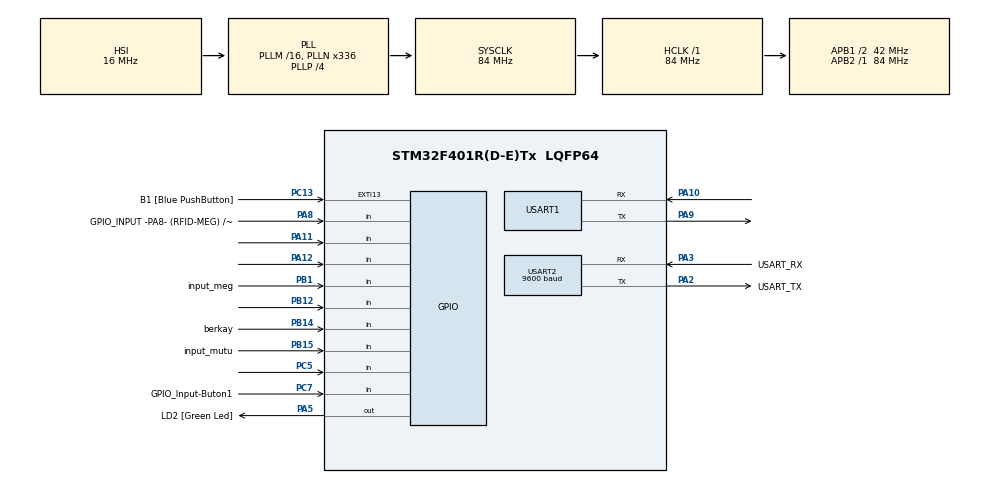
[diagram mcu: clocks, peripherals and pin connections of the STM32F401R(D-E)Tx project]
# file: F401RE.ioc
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Mcu.Family=STM32F4
Mcu.Name=STM32F401R(D-E)Tx
Mcu.Package=LQFP64
NVIC.EXTI15_10_IRQn=true\:0\:0\:false\:false\:true\:true\:true
NVIC.PriorityGroup=NVIC_PRIORITYGROUP_0
NVIC.USART1_IRQn=true\:0\:0\:false\:false\:true\:true\:true
NVIC.USART2_IRQn=true\:0\:0\:false\:false\:true\:true\:true
PA10.Mode=Asynchronous
PA10.Signal=USART1_RX
PA11.Signal=GPIO_Input
PA12.Signal=GPIO_Input
PA13.GPIO_Label=TMS
PA13.Mode=Serial_Wire
PA13.Signal=SYS_JTMS-SWDIO
PA14.GPIO_Label=TCK
PA14.Mode=Serial_Wire
PA14.Signal=SYS_JTCK-SWCLK
PA2.GPIO_Label=USART_TX
PA2.GPIO_Mode=GPIO_MODE_AF_PP
PA2.GPIO_PuPd=GPIO_NOPULL
PA2.GPIO_Speed=GPIO_SPEED_FREQ_LOW
PA2.Mode=Asynchronous
PA2.Signal=USART2_TX
PA3.GPIO_Label=USART_RX
PA3.GPIO_Mode=GPIO_MODE_AF_PP
PA3.GPIO_PuPd=GPIO_NOPULL
PA3.GPIO_Speed=GPIO_SPEED_FREQ_LOW
PA3.Mode=Asynchronous
PA3.Signal=USART2_RX
PA5.GPIO_Label=LD2 [Green Led]
PA5.GPIO_Mode=GPIO_MODE_OUTPUT_PP
PA5.GPIO_PuPd=GPIO_NOPULL
PA5.GPIO_Speed=GPIO_SPEED_FREQ_LOW
PA5.Signal=GPIO_Output
PA8.GPIO_Label=GPIO_INPUT -PA8- (RFID-MEG) // D7
PA8.Signal=GPIO_Input
PA9.Mode=Asynchronous
PA9.Signal=USART1_TX
PB1.GPIO_Label=input_meg
PB1.Signal=GPIO_Input
PB12.Signal=GPIO_Input
PB14.GPIO_Label=berkay
PB14.Signal=GPIO_Input
PB15.GPIO_Label=input_mutu
PB15.Signal=GPIO_Input
PB3.GPIO_Label=SWO
PB3.Signal=SYS_JTDO-SWO
PC13-ANTI_TAMP.GPIO_Label=B1 [Blue PushButton]
PC13-ANTI_TAMP.GPIO_ModeDefaultEXTI=GPIO_MODE_IT_FALLING
PC13-ANTI_TAMP.GPIO_PuPd=GPIO_NOPULL
PC13-ANTI_TAMP.Signal=GPXTI13
PC14-OSC32_IN.Mode=LSE-External-Oscillator
PC14-OSC32_IN.Signal=RCC_OSC32_IN
PC15-OSC32_OUT.Mode=LSE-External-Oscillator
PC15-OSC32_OUT.Signal=RCC_OSC32_OUT
PC5.Signal=GPIO_Input
PC7.GPIO_Label=GPIO_Input-Buton1
PC7.Signal=GPIO_Input
PH0\ -\ OSC_IN.Mode=HSE-External-Oscillator
PH0\ -\ OSC_IN.Signal=RCC_OSC_IN
PH1\ -\ OSC_OUT.Mode=HSE-External-Oscillator
PH1\ -\ OSC_OUT.Signal=RCC_OSC_OUT
ProjectManager.HeapSize=0x200
ProjectManager.StackSize=0x400
ProjectManager.TargetToolchain=STM32CubeIDE
RCC.48MHZClocksFreq_Value=48000000
RCC.AHBFreq_Value=84000000
RCC.APB1CLKDivider=RCC_HCLK_DIV2
RCC.APB1Freq_Value=42000000
RCC.APB1TimFreq_Value=84000000
RCC.APB2Freq_Value=84000000
RCC.APB2TimFreq_Value=84000000
RCC.CortexFreq_Value=84000000
RCC.HCLKFreq_Value=84000000
RCC.HSE_VALUE=8000000
RCC.HSI_VALUE=16000000
RCC.PLLN=336
RCC.PLLP=RCC_PLLP_DIV4
RCC.PLLQ=7
RCC.SYSCLKFreq_VALUE=84000000
RCC.SYSCLKSource=RCC_SYSCLKSOURCE_PLLCLK
RCC.VCOOutputFreq_Value=336000000
USART1.VirtualMode=VM_ASYNC
USART2.BaudRate=9600
USART2.VirtualMode=VM_ASYNC
board=NUCLEO-F401RE

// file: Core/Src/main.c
/* USER CODE BEGIN Header */

/**
  ******************************************************************************
  * @file           : main.c
  * @brief          : Main program body
  ******************************************************************************
  * @attention
  *
  * <h2><center>&copy; Copyright (c) 2021 STMicroelectronics.
  * All rights reserved.</center></h2>
  *
  * This software component is licensed by ST under BSD 3-Clause license,
  * the "License"; You may not use this file except in compliance with the
  * License. You may obtain a copy of the License at:
  *                        opensource.org/licenses/BSD-3-Clause
  *
  ******************************************************************************
  */

/* USER CODE END Header */
#include "main.h"

UART_HandleTypeDef huart1;
UART_HandleTypeDef huart2;

/* USER CODE BEGIN PV */

char mydata[5] ="MEG\n\r";
char mydata2[7] ="MUTLU\n\r";
char mydata3[8] = "BERKAY\n\r";
char mydata4[6] = "ECEM\n\r";
char regButton[5] = "REG\n\r";
char updateButton[8] = "UPDATE\n\r";
char LISTButton[6] = "LIST\n\r";
char HESButton[5] = "HES\n\r";

/* USER CODE END PV */

void SystemClock_Config(void);
static void MX_GPIO_Init(void);
static void MX_USART2_UART_Init(void);
static void MX_USART1_UART_Init(void);

int main(void)
{

  /* MCU Configuration--------------------------------------------------------*/

  /* Reset of all peripherals, Initializes the Flash interface and the Systick. */
  HAL_Init();

  /* Configure the system clock */
  SystemClock_Config();

  /* Initialize all configured peripherals */
  MX_GPIO_Init();
  MX_USART2_UART_Init();
  MX_USART1_UART_Init();

  /* Infinite loop */
  while (1)
  {

    /* USER CODE BEGIN 3 */
	  	  	  	  	  	  	  	  // RFID kart 1 Kontrolü -- MEG-- Kartı kontrolü
	  if (HAL_GPIO_ReadPin(GPIOB, GPIO_PIN_1) == 1){

		  HAL_UART_Transmit(&huart2, mydata, strlen(mydata), 100);
		  HAL_Delay(1000);

		  // A8 pini HIGH oldugunda Seri Porta MEG verisini yollar
	  }

	  	  	  	  	  	  	  	  // RFID kart 2 Kontrolü -- MUTLU-- Kartı kontrolü
	  else if (HAL_GPIO_ReadPin(GPIOB, GPIO_PIN_15) == 1){

		  HAL_UART_Transmit(&huart2, mydata2, strlen(mydata2), 100);
		  HAL_Delay(1000);
	  }
	  	  	  	  	  	  	  // RFID kart 3 Kontrolü -- BERKAY-- Kartı kontrolü
	  else if (HAL_GPIO_ReadPin(GPIOB, GPIO_PIN_14)== 1){

	  		  HAL_UART_Transmit(&huart2, mydata3, strlen(mydata3), 100);
	  		  HAL_Delay(1000);
	  	  }
	  	  	  	  	  	  	  // RFID kart 4 Kontrolü -- ECEM-- Kartı kontrolü
	/*  else if (HAL_GPIO_ReadPin(GPIOB, GPIO_PIN_15)){

	  	  		  HAL_UART_Transmit(&huart2, mydata4, strlen(mydata4), 100);
	  	  		  HAL_Delay(1000);
	  	  	  }

*/

	  else if(HAL_GPIO_ReadPin(GPIOC, GPIO_PIN_5) == 1) {

		  HAL_UART_Transmit(&huart2, regButton, strlen(regButton), 100);
		  HAL_GPIO_WritePin(GPIOA, GPIO_PIN_5, 1);
		  HAL_Delay(1000);
		  HAL_GPIO_WritePin(GPIOA, GPIO_PIN_5, 0);

	  }

	  else if(HAL_GPIO_ReadPin(GPIOA, GPIO_PIN_12) == 1) {

	  		  HAL_UART_Transmit(&huart2, updateButton, strlen(updateButton), 100);
	  		  HAL_GPIO_WritePin(GPIOA, GPIO_PIN_5, 1);
	  		  HAL_Delay(1000);
	  		  HAL_GPIO_WritePin(GPIOA, GPIO_PIN_5, 0);

	  	  }

	  else if(HAL_GPIO_ReadPin(GPIOA, GPIO_PIN_11) == 1) {

	  	  		  HAL_UART_Transmit(&huart2, LISTButton, strlen(LISTButton), 100);
	  	  		  HAL_GPIO_WritePin(GPIOA, GPIO_PIN_5, 1);
	  	  		  HAL_Delay(1000);
	  	  		  HAL_GPIO_WritePin(GPIOA, GPIO_PIN_5, 0);

	  	  	  }

	  else if(HAL_GPIO_ReadPin(GPIOB, GPIO_PIN_12) == 1) {

	 	  	  		  HAL_UART_Transmit(&huart2, HESButton, strlen(HESButton), 100);
	 	  	  		  HAL_GPIO_WritePin(GPIOA, GPIO_PIN_5, 1);
	 	  	  		  HAL_Delay(1000);
	 	  	  		  HAL_GPIO_WritePin(GPIOA, GPIO_PIN_5, 0);

	 	  	  	  }

	  }

	  /*  	  HAL_UART_Transmit(&huart2, mydata, strlen(mydata), 50);
	  	  HAL_Delay(500);
*/

  /* USER CODE END 3 */
}

void SystemClock_Config(void)
{
  RCC_OscInitTypeDef RCC_OscInitStruct = {0};
  RCC_ClkInitTypeDef RCC_ClkInitStruct = {0};

  /** Configure the main internal regulator output voltage
  */
  __HAL_RCC_PWR_CLK_ENABLE();
  __HAL_PWR_VOLTAGESCALING_CONFIG(PWR_REGULATOR_VOLTAGE_SCALE2);
  /** Initializes the RCC Oscillators according to the specified parameters
  * in the RCC_OscInitTypeDef structure.
  */
  RCC_OscInitStruct.OscillatorType = RCC_OSCILLATORTYPE_HSI;
  RCC_OscInitStruct.HSIState = RCC_HSI_ON;
  RCC_OscInitStruct.HSICalibrationValue = RCC_HSICALIBRATION_DEFAULT;
  RCC_OscInitStruct.PLL.PLLState = RCC_PLL_ON;
  RCC_OscInitStruct.PLL.PLLSource = RCC_PLLSOURCE_HSI;
  RCC_OscInitStruct.PLL.PLLM = 16;
  RCC_OscInitStruct.PLL.PLLN = 336;
  RCC_OscInitStruct.PLL.PLLP = RCC_PLLP_DIV4;
  RCC_OscInitStruct.PLL.PLLQ = 7;
  if (HAL_RCC_OscConfig(&RCC_OscInitStruct) != HAL_OK)
  {
    Error_Handler();
  }
  /** Initializes the CPU, AHB and APB buses clocks
  */
  RCC_ClkInitStruct.ClockType = RCC_CLOCKTYPE_HCLK|RCC_CLOCKTYPE_SYSCLK
                              |RCC_CLOCKTYPE_PCLK1|RCC_CLOCKTYPE_PCLK2;
  RCC_ClkInitStruct.SYSCLKSource = RCC_SYSCLKSOURCE_PLLCLK;
  RCC_ClkInitStruct.AHBCLKDivider = RCC_SYSCLK_DIV1;
  RCC_ClkInitStruct.APB1CLKDivider = RCC_HCLK_DIV2;
  RCC_ClkInitStruct.APB2CLKDivider = RCC_HCLK_DIV1;

  if (HAL_RCC_ClockConfig(&RCC_ClkInitStruct, FLASH_LATENCY_2) != HAL_OK)
  {
    Error_Handler();
  }
}

static void MX_USART1_UART_Init(void)
{

  huart1.Instance = USART1;
  huart1.Init.BaudRate = 115200;
  huart1.Init.WordLength = UART_WORDLENGTH_8B;
  huart1.Init.StopBits = UART_STOPBITS_1;
  huart1.Init.Parity = UART_PARITY_NONE;
  huart1.Init.Mode = UART_MODE_TX_RX;
  huart1.Init.HwFlowCtl = UART_HWCONTROL_NONE;
  huart1.Init.OverSampling = UART_OVERSAMPLING_16;
  if (HAL_UART_Init(&huart1) != HAL_OK)
  {
    Error_Handler();
  }

}

static void MX_USART2_UART_Init(void)
{

  huart2.Instance = USART2;
  huart2.Init.BaudRate = 9600;
  huart2.Init.WordLength = UART_WORDLENGTH_8B;
  huart2.Init.StopBits = UART_STOPBITS_1;
  huart2.Init.Parity = UART_PARITY_NONE;
  huart2.Init.Mode = UART_MODE_TX_RX;
  huart2.Init.HwFlowCtl = UART_HWCONTROL_NONE;
  huart2.Init.OverSampling = UART_OVERSAMPLING_16;
  if (HAL_UART_Init(&huart2) != HAL_OK)
  {
    Error_Handler();
  }

}

static void MX_GPIO_Init(void)
{
  GPIO_InitTypeDef GPIO_InitStruct = {0};

  /* GPIO Ports Clock Enable */
  __HAL_RCC_GPIOC_CLK_ENABLE();
  __HAL_RCC_GPIOH_CLK_ENABLE();
  __HAL_RCC_GPIOA_CLK_ENABLE();
  __HAL_RCC_GPIOB_CLK_ENABLE();

  /*Configure GPIO pin Output Level */
  HAL_GPIO_WritePin(LD2_GPIO_Port, LD2_Pin, GPIO_PIN_RESET);

  /*Configure GPIO pin : B1_Pin */
  GPIO_InitStruct.Pin = B1_Pin;
  GPIO_InitStruct.Mode = GPIO_MODE_IT_FALLING;
  GPIO_InitStruct.Pull = GPIO_NOPULL;
  HAL_GPIO_Init(B1_GPIO_Port, &GPIO_InitStruct);

  /*Configure GPIO pin : LD2_Pin */
  GPIO_InitStruct.Pin = LD2_Pin;
  GPIO_InitStruct.Mode = GPIO_MODE_OUTPUT_PP;
  GPIO_InitStruct.Pull = GPIO_NOPULL;
  GPIO_InitStruct.Speed = GPIO_SPEED_FREQ_LOW;
  HAL_GPIO_Init(LD2_GPIO_Port, &GPIO_InitStruct);

  /*Configure GPIO pins : PC5 GPIO_Input_Buton1_Pin */
  GPIO_InitStruct.Pin = GPIO_PIN_5|GPIO_Input_Buton1_Pin;
  GPIO_InitStruct.Mode = GPIO_MODE_INPUT;
  GPIO_InitStruct.Pull = GPIO_NOPULL;
  HAL_GPIO_Init(GPIOC, &GPIO_InitStruct);

  /*Configure GPIO pins : input_meg_Pin PB12 berkay_Pin input_mutu_Pin */
  GPIO_InitStruct.Pin = input_meg_Pin|GPIO_PIN_12|berkay_Pin|input_mutu_Pin;
  GPIO_InitStruct.Mode = GPIO_MODE_INPUT;
  GPIO_InitStruct.Pull = GPIO_NOPULL;
  HAL_GPIO_Init(GPIOB, &GPIO_InitStruct);

  /*Configure GPIO pins : GPIO_INPUT__PA8_____D7_Pin PA11 PA12 */
  GPIO_InitStruct.Pin = GPIO_INPUT__PA8_____D7_Pin|GPIO_PIN_11|GPIO_PIN_12;
  GPIO_InitStruct.Mode = GPIO_MODE_INPUT;
  GPIO_InitStruct.Pull = GPIO_NOPULL;
  HAL_GPIO_Init(GPIOA, &GPIO_InitStruct);

  /* EXTI interrupt init*/
  HAL_NVIC_SetPriority(EXTI15_10_IRQn, 0, 0);
  HAL_NVIC_EnableIRQ(EXTI15_10_IRQn);

}

void Error_Handler(void)
{
  __disable_irq();
  while (1)
  {
  }
}

/************************ (C) COPYRIGHT STMicroelectronics *****END OF FILE****/
